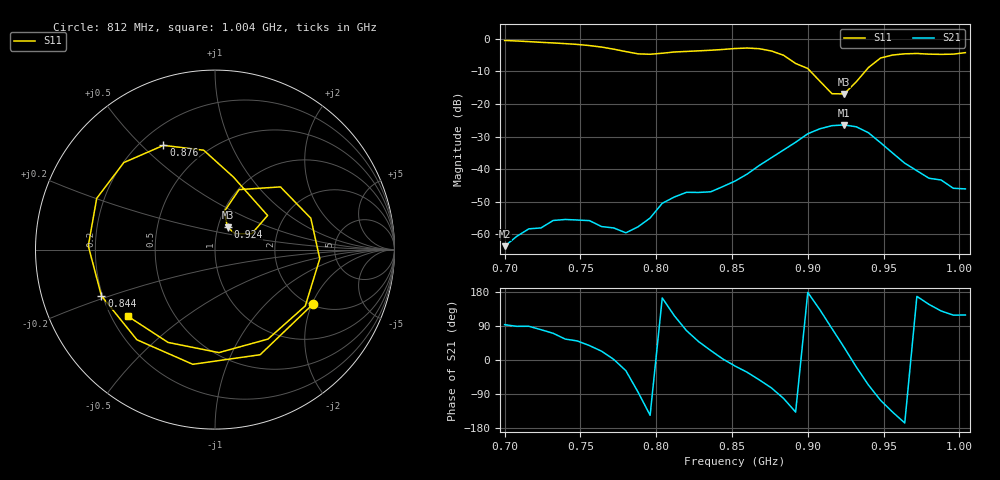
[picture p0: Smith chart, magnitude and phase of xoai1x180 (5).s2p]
# Hz S RI R 50
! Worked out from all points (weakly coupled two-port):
!   39 points, 700 MHz to 1.004 GHz, reference 50 ohm
!   highest |S21| = -26.44 dB at 924 MHz (marker M1); lowest = -63.6 dB at 700 MHz (marker M2)
!   lowest |S11| = -16.9 dB at 924 MHz (marker M3), VSWR 1.33, Z = 55.7 + j14.1 ohm
!   |S11| at or under -10 dB: 901.8 MHz to 937.9 MHz (36.14 MHz wide, 3.93 % of centre)
!   S12 and S22 are empty: the file has one direction only
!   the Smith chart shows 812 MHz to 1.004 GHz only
!   S11 on the Smith chart (normalised r, x): 812 MHz: 2.05, -2.04; 844 MHz: 0.20, -0.19; 876 MHz: 0.29, +0.58; 924 MHz: 1.11, +0.28; 1.004 GHz: 0.27, -0.32
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7e8  0.7587 0.5528  -3.73e-05 0.000661  0 0  0 0
7.24e8  0.8436 -0.2458  0.000219 0.00124  0 0  0 0
7.4e8  0.4589 -0.7024  0.000969 0.0014  0 0  0 0
7.56e8  -0.1936 -0.7593  0.00128 0.001  0 0  0 0
7.72e8  -0.6632 -0.1936  0.00126 3.55e-05  0 0  0 0
7.8e8  -0.5894 0.2331  0.000935 -0.000501  0 0  0 0
7.88e8  -0.2318 0.5375  0.000128 -0.0013  0 0  0 0
7.96e8  0.2559 0.5166  -0.00148 -0.001  0 0  0 0
8.04e8  0.5768 0.1574  -0.00289 0.000838  0 0  0 0
8.12e8  0.5472 -0.3025  -0.00168 0.00336  0 0  0 0
8.28e8  -0.1238 -0.639  0.00292 0.0033  0 0  0 0
8.44e8  -0.6329 -0.2573  0.00542 0.000248  0 0  0 0
8.52e8  -0.706 0.0206  0.00632 -0.0018  0 0  0 0
8.76e8  -0.2872 0.5808  0.00425 -0.0144  0 0  0 0
9e8  0.2931 0.19  -0.0349 0.000958  0 0  0 0
9.08e8  0.2049 0.0883  -0.0282 0.0307  0 0  0 0
9.24e8  0.07 0.1241  0.0399 0.0261  0 0  0 0
9.4e8  0.1344 0.3343  0.0148 -0.0331  0 0  0 0
9.48e8  0.3646 0.3493  -0.00709 -0.0245  0 0  0 0
9.56e8  0.5339 0.1747  -0.0131 -0.0119  0 0  0 0
9.8e8  0.2952 -0.4985  -0.00607 0.00399  0 0  0 0
1.004e9  -0.4843 -0.372  -0.0024 0.00438  0 0  0 0
